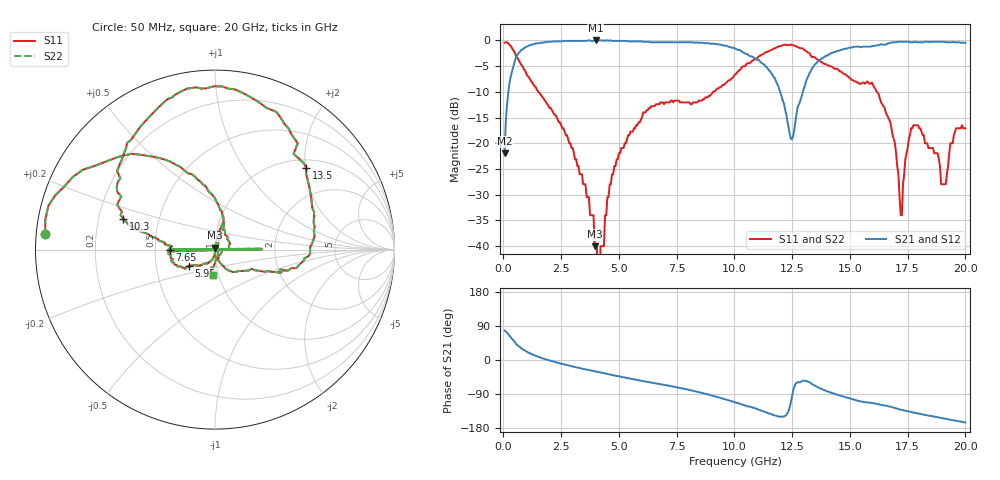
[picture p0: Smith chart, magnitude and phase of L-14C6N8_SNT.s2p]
#	mhz	s	ma	r	50
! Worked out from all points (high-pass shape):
!   400 points, 50 MHz to 20 GHz, reference 50 ohm
!   highest |S21| = 0.00 dB at 4 GHz (marker M1); lowest = -21.9 dB at 50 MHz (marker M2)
!   |S21| within 3 dB of the highest: 570 MHz to 10.66 GHz (10.09 GHz wide, 180 % of centre); 13.94 GHz to end of sweep
!   lowest |S11| = -40.0 dB at 3.95 GHz (marker M3), VSWR 1.02, Z = 50.2 + j0.99 ohm
!   |S11| at or under -10 dB: 1.519 GHz to 9.081 GHz (7.563 GHz wide, 143 % of centre); 16.17 GHz to end of sweep
!   |S22| runs from - to -0.4 dB; largest |S21 - S12| = 0
!   S11 on the Smith chart (normalised r, x): 50 MHz: 0.03, +0.04; 5.95 GHz: 0.74, -0.13; 7.65 GHz: 0.60, -0.00; 10.3 GHz: 0.31, +0.15; 13.5 GHz: 1.20, +2.02; 20 GHz: 0.94, -0.27
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50  0.95 174.9  0.08 77.6  0.08 77.6  0.95 174.9
550  0.71 131.3  0.7 42.2  0.7 42.2  0.71 131.3
3400  0.05 72.7  0.99 -22.7  0.99 -22.7  0.05 72.7
3950  0.01 80.8  1 -29.9  1 -29.9  0.01 80.8
4000  0.01 75.9  1 -30.5  1 -30.5  0.01 75.9
4050  0.01 71.0  1 -31.0  1 -31.0  0.01 71.0
4100  0 40.7  1 -31.7  1 -31.7  0 40.7
4150  0 10.4  1 -32.3  1 -32.3  0 10.4
4200  0.01 -32.1  1 -33.0  1 -33.0  0.01 -32.1
5950  0.17 -148.5  0.98 -54.6  0.98 -54.6  0.17 -148.5
6700  0.24 -161.4  0.96 -62.8  0.96 -62.8  0.24 -161.4
7650  0.25 -179.9  0.96 -73.6  0.96 -73.6  0.25 -179.9
10050  0.47 164.3  0.83 -112.2  0.83 -112.2  0.47 164.3
10300  0.54 161.3  0.79 -116.9  0.79 -116.9  0.54 161.3
12450  0.91 87.5  0.11 -110.3  0.11 -110.3  0.91 87.5
13350  0.69 50.6  0.53 -63.1  0.53 -63.1  0.69 50.6
13500  0.68 41.8  0.59 -68.0  0.59 -68.0  0.68 41.8
16700  0.17 -46.5  0.94 -122.4  0.94 -122.4  0.17 -46.5
17200  0.02 -10.9  0.97 -131.0  0.97 -131.0  0.02 -10.9
17650  0.14 74.3  0.96 -137.4  0.96 -137.4  0.14 74.3
19100  0.04 -57.6  0.97 -154.7  0.97 -154.7  0.04 -57.6
20000  0.14 -94.4  0.95 -164.8  0.95 -164.8  0.14 -94.4
